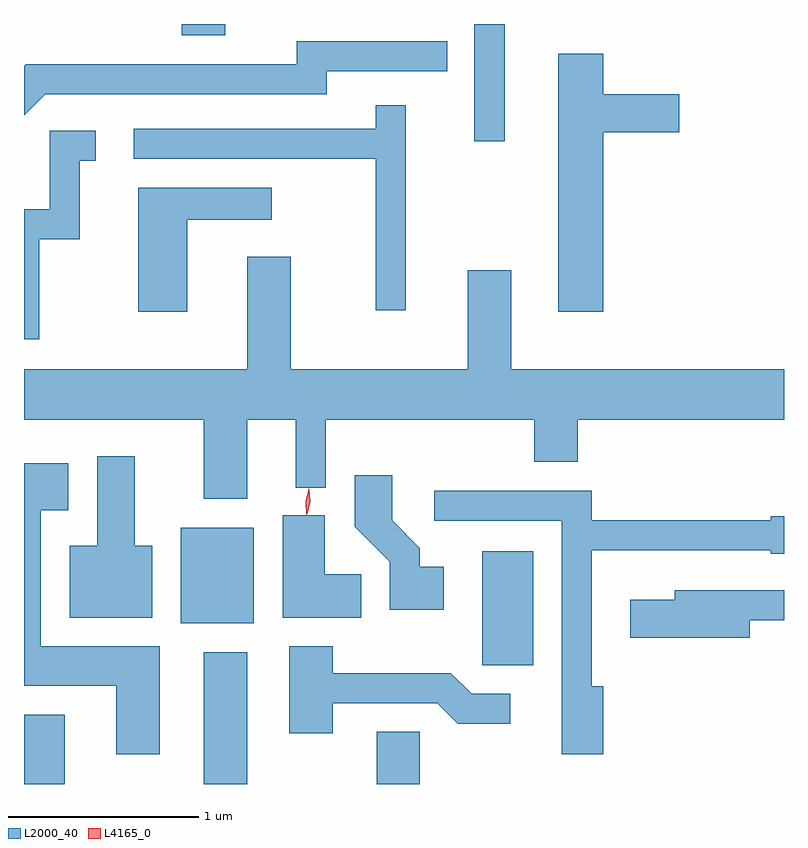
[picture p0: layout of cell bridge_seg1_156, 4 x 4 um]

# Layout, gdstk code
import gdstk
lib = gdstk.Library(unit=1e-6, precision=1e-09)
def R(c, l, rs):  # rectangles x0, y0, x1, y1
    for r in rs: c.add(gdstk.rectangle(r[:2], r[2:], *l))
def P(c, l, *ps):  # polygons
    for p in ps: c.add(gdstk.Polygon(p, *l))
L2000_40 = (2000, 40)
L4165_0 = (4165, 0)

bridge_seg1_156 = lib.new_cell('bridge_seg1_156')
R(bridge_seg1_156, L2000_40, [(860.685,950.94,860.899,951.304), (861.631,950.94,861.859,951.634), (862.541,950.94,862.769,951.214), (863.096,951.566,863.364,952.164), (861.511,951.786,861.894,952.289), (863.056,954.323,863.214,954.94), (861.516,954.881,861.744,954.94)])
P(bridge_seg1_156, L2000_40, [(860.797,954.571),(862.279,954.571),(862.279,954.691),(862.913,954.691),(862.913,954.849),(862.121,954.849),(862.121,954.729),(860.694,954.729),(860.685,954.72),(860.685,954.46)],
  [(863.734,954.371),(864.134,954.371),(864.134,954.569),(863.734,954.569),(863.734,954.784),(863.496,954.784),(863.496,953.426),(863.734,953.426)],
  [(862.694,954.513),(862.536,954.513),(862.536,954.389),(861.263,954.389),(861.263,954.231),(862.536,954.231),(862.536,953.433),(862.694,953.433)],
  [(860.764,953.806),(860.979,953.806),(860.979,954.221),(861.063,954.221),(861.063,954.379),(860.821,954.379),(860.821,953.964),(860.685,953.964),(860.685,953.281),(860.764,953.281)],
  [(861.544,953.911),(861.988,953.911),(861.988,954.079),(861.286,954.079),(861.286,953.426),(861.544,953.426)],
  [(861.859,952.856),(862.116,952.856),(862.116,952.498),(862.274,952.498),(862.274,952.856),(863.371,952.856),(863.371,952.636),(863.599,952.636),(863.599,952.856),(864.685,952.856),(864.685,953.124),(863.249,953.124),(863.249,953.644),(863.021,953.644),(863.021,953.124),(862.089,953.124),(862.089,953.714),(861.861,953.714),(861.861,953.124),(860.685,953.124),(860.685,952.856),(861.631,952.856),(861.631,952.441),(861.859,952.441)],
  [(861.359,952.194),(861.269,952.194),(861.269,952.664),(861.071,952.664),(861.071,952.194),(860.926,952.194),(860.926,951.816),(861.359,951.816)],
  [(861.399,951.664),(860.774,951.664),(860.774,952.381),(860.919,952.381),(860.919,952.629),(860.685,952.629),(860.685,951.456),(861.171,951.456),(861.171,951.096),(861.399,951.096)],
  [(862.894,952.084),(862.769,952.084),(862.769,952.182),(862.624,952.327),(862.624,952.564),(862.426,952.564),(862.426,952.294),(862.611,952.109),(862.611,951.856),(862.894,951.856)],
  [(863.734,951.454),(863.674,951.454),(863.674,952.171),(864.616,952.171),(864.616,952.151),(864.685,952.151),(864.685,952.349),(864.616,952.349),(864.616,952.329),(863.674,952.329),(863.674,952.484),(862.843,952.484),(862.843,952.326),(863.516,952.326),(863.516,951.096),(863.734,951.096)],
  [(862.459,952.044),(862.269,952.044),(862.269,952.354),(862.046,952.354),(862.046,951.816),(862.459,951.816)],
  [(864.504,951.801),(864.685,951.801),(864.685,951.959),(864.111,951.959),(864.111,951.909),(863.876,951.909),(863.876,951.711),(864.504,951.711)],
  [(862.309,951.366),(862.859,951.366),(862.969,951.256),(863.243,951.256),(863.243,951.414),(863.042,951.414),(862.932,951.524),(862.309,951.524),(862.309,951.664),(862.081,951.664),(862.081,951.206),(862.309,951.206)])
P(bridge_seg1_156, L4165_0, [(862.17,952.358),(862.167,952.427),(862.183,952.495),(862.184,952.495),(862.184,952.495),(862.187,952.426),(862.171,952.358),(862.171,952.358)],
  [(862.176,952.359),(862.175,952.36),(862.171,952.426),(862.186,952.491),(862.186,952.492),(862.187,952.491),(862.191,952.425),(862.176,952.36)])

lib.write_gds('bridge_seg1_156.gds')
